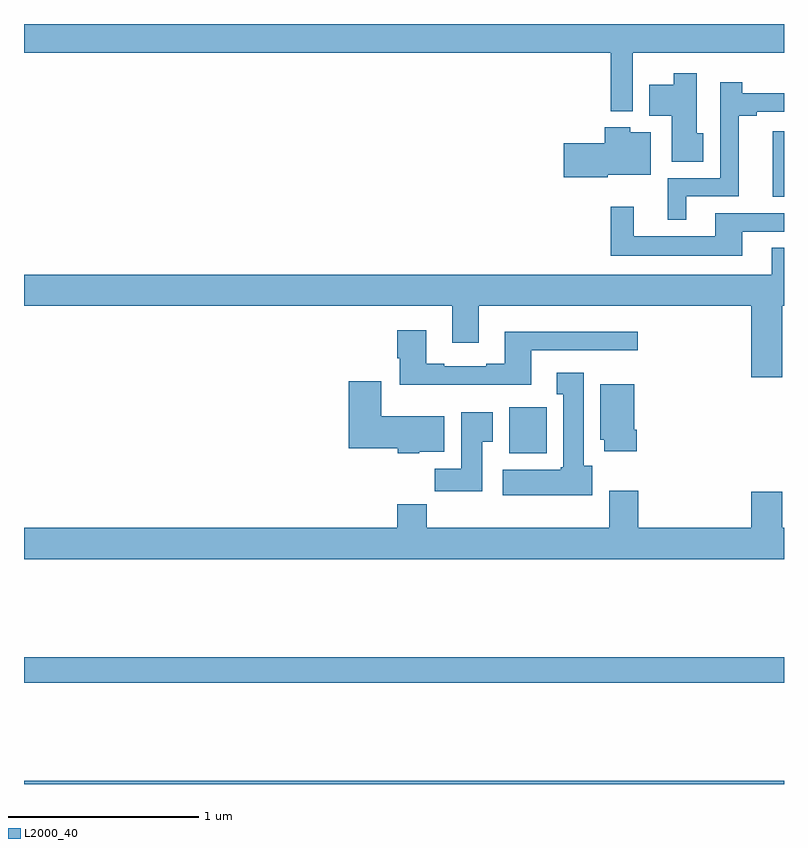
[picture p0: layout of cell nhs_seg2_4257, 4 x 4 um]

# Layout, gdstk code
import gdstk
lib = gdstk.Library(unit=1e-6, precision=1e-09)
def R(c, l, rs):  # rectangles x0, y0, x1, y1
    for r in rs: c.add(gdstk.rectangle(r[:2], r[2:], *l))
def P(c, l, *ps):  # polygons
    for p in ps: c.add(gdstk.Polygon(p, *l))
L2000_40 = (2000, 40)

nhs_seg2_4257 = lib.new_cell('nhs_seg2_4257')
R(nhs_seg2_4257, L2000_40, [(341,631.8,345,631.816), (341,632.332,345,632.468), (343.553,633.542,343.75,633.784), (344.942,634.892,345,635.236)])
P(nhs_seg2_4257, L2000_40, [(344.205,635.648),(345,635.648),(345,635.8),(341,635.8),(341,635.648),(344.089,635.648),(344.089,635.342),(344.205,635.342)],
  [(344.575,635.226),(344.542,635.226),(344.542,635.542),(344.42,635.542),(344.42,635.479),(344.29,635.479),(344.29,635.318),(344.408,635.318),(344.408,635.074),(344.575,635.074)],
  [(344.485,634.893),(344.762,634.893),(344.762,635.317),(344.857,635.317),(344.857,635.337),(345,635.337),(345,635.435),(344.78,635.435),(344.78,635.494),(344.664,635.494),(344.664,634.989),(344.387,634.989),(344.387,634.769),(344.485,634.769)],
  [(344.073,635.006),(344.299,635.006),(344.299,635.23),(344.19,635.23),(344.19,635.257),(344.057,635.257),(344.057,635.172),(343.842,635.172),(343.842,634.994),(344.073,634.994)],
  [(344.779,634.707),(345,634.707),(345,634.803),(344.639,634.803),(344.639,634.684),(344.209,634.684),(344.209,634.837),(344.088,634.837),(344.088,634.58),(344.779,634.58)],
  [(344.992,634.316),(345,634.316),(345,634.622),(344.936,634.622),(344.936,634.48),(341,634.48),(341,634.316),(343.253,634.316),(343.253,634.122),(343.393,634.122),(343.393,634.316),(344.828,634.316),(344.828,633.942),(344.992,633.942)],
  [(343.669,634.083),(344.23,634.083),(344.23,634.18),(343.529,634.18),(343.529,634.012),(343.433,634.012),(343.433,633.999),(343.213,633.999),(343.213,634.012),(343.117,634.012),(343.117,634.189),(342.965,634.189),(342.965,634.041),(342.977,634.041),(342.977,633.902),(343.669,633.902)],
  [(343.99,633.474),(343.945,633.474),(343.945,633.964),(343.805,633.964),(343.805,633.851),(343.838,633.851),(343.838,633.468),(343.825,633.468),(343.825,633.454),(343.521,633.454),(343.521,633.32),(343.99,633.32)],
  [(343.08,633.548),(343.213,633.548),(343.213,633.736),(342.88,633.736),(342.88,633.919),(342.71,633.919),(342.71,633.566),(342.966,633.566),(342.966,633.542),(343.08,633.542)],
  [(344.225,633.664),(344.212,633.664),(344.212,633.904),(344.033,633.904),(344.033,633.612),(344.054,633.612),(344.054,633.552),(344.225,633.552)],
  [(343.411,633.601),(343.468,633.601),(343.468,633.757),(343.301,633.757),(343.301,633.46),(343.162,633.46),(343.162,633.342),(343.411,633.342)],
  [(344.828,633.337),(344.828,633.148),(344.234,633.148),(344.234,633.343),(344.081,633.343),(344.081,633.148),(343.121,633.148),(343.121,633.272),(342.965,633.272),(342.965,633.148),(341,633.148),(341,632.984),(345,632.984),(345,633.148),(344.992,633.148),(344.992,633.337)])

lib.write_gds('nhs_seg2_4257.gds')
